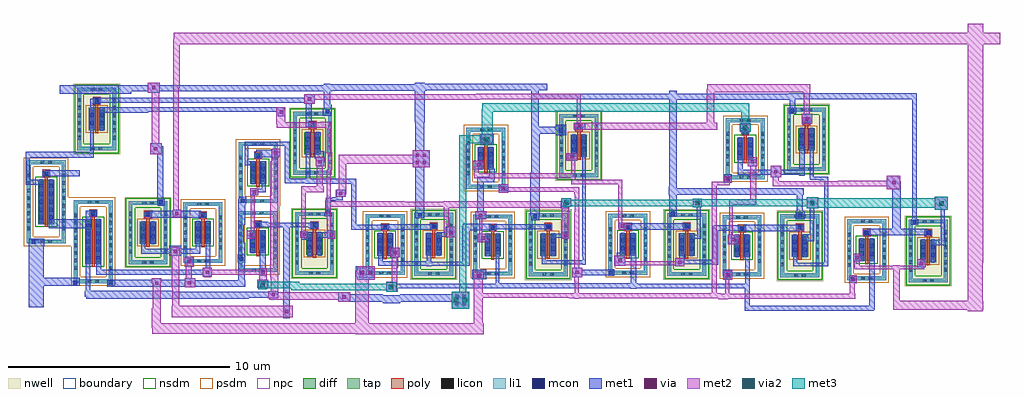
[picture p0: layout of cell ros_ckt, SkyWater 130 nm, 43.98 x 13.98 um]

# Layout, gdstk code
import gdstk
lib = gdstk.Library(unit=1e-6, precision=1e-09)
def R(c, l, rs):  # rectangles x0, y0, x1, y1
    for r in rs: c.add(gdstk.rectangle(r[:2], r[2:], *l))
def A(c, l, x, y, w, h, nx, ny, dx, dy):  # array of equal rectangles
    R(c, l, [(x+i*dx, y+j*dy, x+i*dx+w, y+j*dy+h) for i in range(nx) for j in range(ny)])
nwell = (64, 20)
diff = (65, 20)
tap = (65, 44)
poly = (66, 20)
licon = (66, 44)
li1 = (67, 20)
mcon = (67, 44)
met1 = (68, 20)
via = (68, 44)
met2 = (69, 20)
via2 = (69, 44)
met3 = (70, 20)
nsdm = (93, 44)
psdm = (94, 20)
npc = (95, 20)
boundary = (235, 4)

sky130_fd_pr__nfet_01v8_ = lib.new_cell('sky130_fd_pr__nfet_01v8_KW5RPL')
R(sky130_fd_pr__nfet_01v8_, diff, [(-0.365,-1,0.365,1)])
R(sky130_fd_pr__nfet_01v8_, tap, [(-0.875,-1.87,0.875,-1.7), (-0.875,-1.7,-0.705,1.7), (0.705,-1.7,0.875,1.7), (-0.875,1.7,0.875,1.87)])
R(sky130_fd_pr__nfet_01v8_, poly, [(-0.075,-1.13,0.075,1.11), (-0.165,1.11,0.165,1.44)])
A(sky130_fd_pr__nfet_01v8_, licon, -0.875, -1.275, 0.17, 0.17, 1, 8, 0, 0.34)
A(sky130_fd_pr__nfet_01v8_, licon, 0.705, -1.275, 0.17, 0.17, 1, 8, 0, 0.34)
A(sky130_fd_pr__nfet_01v8_, licon, -0.305, -0.935, 0.17, 0.17, 1, 6, 0, 0.34)
A(sky130_fd_pr__nfet_01v8_, licon, 0.135, -0.935, 0.17, 0.17, 1, 6, 0, 0.34)
R(sky130_fd_pr__nfet_01v8_, licon, [(-0.255,-1.87,-0.085,-1.7), (0.085,-1.87,0.255,-1.7), (-0.085,1.19,0.085,1.36), (-0.255,1.7,-0.085,1.87), (0.085,1.7,0.255,1.87)])
R(sky130_fd_pr__nfet_01v8_, li1, [(-0.875,-1.87,0.875,-1.7), (-0.875,-1.7,-0.705,1.7), (0.705,-1.7,0.875,1.7), (-0.305,-1.02,-0.135,1.02), (0.135,-1.02,0.305,1.02), (-0.165,1.19,0.165,1.36), (-0.875,1.7,0.875,1.87)])
A(sky130_fd_pr__nfet_01v8_, mcon, -0.305, -0.805, 0.17, 0.17, 1, 5, 0, 0.36)
A(sky130_fd_pr__nfet_01v8_, mcon, 0.135, -0.805, 0.17, 0.17, 1, 5, 0, 0.36)
R(sky130_fd_pr__nfet_01v8_, mcon, [(-0.085,1.19,0.085,1.36)])
R(sky130_fd_pr__nfet_01v8_, met1, [(-0.335,-1,-0.105,1), (0.105,-1,0.335,1), (-0.145,1.16,0.145,1.39)])
R(sky130_fd_pr__nfet_01v8_, nsdm, [(-0.49,-1.125,0.49,1.125)])
R(sky130_fd_pr__nfet_01v8_, psdm, [(-1,-1.995,1,-1.575), (-1,-1.575,-0.58,1.575), (0.58,-1.575,1,1.575), (-1,1.575,1,1.995)])
R(sky130_fd_pr__nfet_01v8_, npc, [(-0.185,1.09,0.185,1.46)])
R(sky130_fd_pr__nfet_01v8_, boundary, [(-0.79,-1.785,0.79,1.785)])
sky130_fd_pr__nfet_01v8_.add(gdstk.Label('B', (0,-1.785), layer=67, texttype=5))
sky130_fd_pr__nfet_01v8_.add(gdstk.Label('D', (-0.22,0), layer=67, texttype=5))
sky130_fd_pr__nfet_01v8_.add(gdstk.Label('S', (0.22,0), layer=67, texttype=5))
sky130_fd_pr__nfet_01v8_.add(gdstk.Label('G', (0,1.275), layer=67, texttype=5))

sky130_fd_pr__pfet_01v8_ = lib.new_cell('sky130_fd_pr__pfet_01v8_KBS6X7')
R(sky130_fd_pr__pfet_01v8_, nwell, [(-1.055,-1.595,1.055,1.595)])
R(sky130_fd_pr__pfet_01v8_, diff, [(-0.365,-0.5,0.365,0.5)])
R(sky130_fd_pr__pfet_01v8_, tap, [(-0.875,-1.415,0.875,-1.245), (-0.875,-1.245,-0.705,1.245), (0.705,-1.245,0.875,1.245), (-0.875,1.245,0.875,1.415)])
R(sky130_fd_pr__pfet_01v8_, poly, [(-0.075,-0.635,0.075,0.655), (-0.165,0.655,0.165,0.985)])
A(sky130_fd_pr__pfet_01v8_, licon, -0.875, -0.935, 0.17, 0.17, 1, 6, 0, 0.34)
A(sky130_fd_pr__pfet_01v8_, licon, 0.705, -0.935, 0.17, 0.17, 1, 6, 0, 0.34)
A(sky130_fd_pr__pfet_01v8_, licon, -0.305, -0.425, 0.17, 0.17, 1, 3, 0, 0.34)
A(sky130_fd_pr__pfet_01v8_, licon, 0.135, -0.425, 0.17, 0.17, 1, 3, 0, 0.34)
R(sky130_fd_pr__pfet_01v8_, licon, [(-0.255,-1.415,-0.085,-1.245), (0.085,-1.415,0.255,-1.245), (-0.085,0.735,0.085,0.905), (-0.255,1.245,-0.085,1.415), (0.085,1.245,0.255,1.415)])
R(sky130_fd_pr__pfet_01v8_, li1, [(-0.875,-1.415,0.875,-1.245), (-0.875,-1.245,-0.705,1.245), (0.705,-1.245,0.875,1.245), (-0.305,-0.52,-0.135,0.52), (0.135,-0.52,0.305,0.52), (-0.165,0.735,0.165,0.905), (-0.875,1.245,0.875,1.415)])
R(sky130_fd_pr__pfet_01v8_, mcon, [(-0.305,-0.265,-0.135,-0.095), (0.135,-0.265,0.305,-0.095), (-0.305,0.095,-0.135,0.265), (0.135,0.095,0.305,0.265), (-0.085,0.735,0.085,0.905)])
R(sky130_fd_pr__pfet_01v8_, met1, [(-0.335,-0.5,-0.105,0.5), (0.105,-0.5,0.335,0.5), (-0.145,0.705,0.145,0.935)])
R(sky130_fd_pr__pfet_01v8_, nsdm, [(-1,-1.54,1,-1.12), (-1,-1.12,-0.58,1.12), (0.58,-1.12,1,1.12), (-1,1.12,1,1.54)])
R(sky130_fd_pr__pfet_01v8_, psdm, [(-0.49,-0.625,0.49,0.625)])
R(sky130_fd_pr__pfet_01v8_, npc, [(-0.185,0.635,0.185,1.005)])
R(sky130_fd_pr__pfet_01v8_, boundary, [(-0.79,-1.33,0.79,1.33)])
sky130_fd_pr__pfet_01v8_.add(gdstk.Label('B', (0,-1.33), layer=67, texttype=5))
sky130_fd_pr__pfet_01v8_.add(gdstk.Label('D', (-0.22,0), layer=67, texttype=5))
sky130_fd_pr__pfet_01v8_.add(gdstk.Label('S', (0.22,0), layer=67, texttype=5))
sky130_fd_pr__pfet_01v8_.add(gdstk.Label('G', (0,0.82), layer=67, texttype=5))

c_sky130_fd_pr__nfet_01v8_ = lib.new_cell('sky130_fd_pr__nfet_01v8_SFU2NW')
R(c_sky130_fd_pr__nfet_01v8_, diff, [(-0.365,-0.5,0.365,0.5)])
R(c_sky130_fd_pr__nfet_01v8_, tap, [(-0.875,-1.37,0.875,-1.2), (-0.875,-1.2,-0.705,1.2), (0.705,-1.2,0.875,1.2), (-0.875,1.2,0.875,1.37)])
R(c_sky130_fd_pr__nfet_01v8_, poly, [(-0.075,-0.66,0.075,0.61), (-0.165,0.61,0.165,0.94)])
A(c_sky130_fd_pr__nfet_01v8_, licon, -0.875, -0.765, 0.17, 0.17, 1, 5, 0, 0.34)
A(c_sky130_fd_pr__nfet_01v8_, licon, 0.705, -0.765, 0.17, 0.17, 1, 5, 0, 0.34)
A(c_sky130_fd_pr__nfet_01v8_, licon, -0.305, -0.425, 0.17, 0.17, 1, 3, 0, 0.34)
A(c_sky130_fd_pr__nfet_01v8_, licon, 0.135, -0.425, 0.17, 0.17, 1, 3, 0, 0.34)
R(c_sky130_fd_pr__nfet_01v8_, licon, [(-0.255,-1.37,-0.085,-1.2), (0.085,-1.37,0.255,-1.2), (-0.085,0.69,0.085,0.86), (-0.255,1.2,-0.085,1.37), (0.085,1.2,0.255,1.37)])
R(c_sky130_fd_pr__nfet_01v8_, li1, [(-0.875,-1.37,0.875,-1.2), (-0.875,-1.2,-0.705,1.2), (0.705,-1.2,0.875,1.2), (-0.305,-0.52,-0.135,0.52), (0.135,-0.52,0.305,0.52), (-0.165,0.69,0.165,0.86), (-0.875,1.2,0.875,1.37)])
R(c_sky130_fd_pr__nfet_01v8_, mcon, [(-0.305,-0.265,-0.135,-0.095), (0.135,-0.265,0.305,-0.095), (-0.305,0.095,-0.135,0.265), (0.135,0.095,0.305,0.265), (-0.085,0.69,0.085,0.86)])
R(c_sky130_fd_pr__nfet_01v8_, met1, [(-0.335,-0.5,-0.105,0.5), (0.105,-0.5,0.335,0.5), (-0.145,0.66,0.145,0.89)])
R(c_sky130_fd_pr__nfet_01v8_, nsdm, [(-0.49,-0.625,0.49,0.625)])
R(c_sky130_fd_pr__nfet_01v8_, psdm, [(-1,-1.495,1,-1.075), (-1,-1.075,-0.58,1.075), (0.58,-1.075,1,1.075), (-1,1.075,1,1.495)])
R(c_sky130_fd_pr__nfet_01v8_, npc, [(-0.185,0.59,0.185,0.96)])
R(c_sky130_fd_pr__nfet_01v8_, boundary, [(-0.79,-1.285,0.79,1.285)])
c_sky130_fd_pr__nfet_01v8_.add(gdstk.Label('B', (0,-1.285), layer=67, texttype=5))
c_sky130_fd_pr__nfet_01v8_.add(gdstk.Label('D', (-0.22,0), layer=67, texttype=5))
c_sky130_fd_pr__nfet_01v8_.add(gdstk.Label('S', (0.22,0), layer=67, texttype=5))
c_sky130_fd_pr__nfet_01v8_.add(gdstk.Label('G', (0,0.775), layer=67, texttype=5))

ros_ckt = lib.new_cell('ros_ckt')
R(ros_ckt, li1, [(0.79,-5.34,1.09,-5.1), (-0.79,-5.33,-0.6,-5.14), (34.23,-5.17,34.43,-4.97), (17.24,-5.08,17.74,-4.71), (28.56,-5.04,28.84,-4.75), (12.09,-5.02,12.73,-4.56), (23.34,-4.86,23.54,-4.68), (4.21,-4.34,4.58,-4.06), (6.62,-4.34,6.96,-3.96), (-2.71,-3.48,-2.45,-3.3), (37.02,-2.58,37.21,-2.41), (19.9,-2.36,20.13,-2.12), (31.82,-2.33,32.09,-2.07), (14.71,-2.27,14.97,-2.1), (26.13,-2.23,26.32,-2.02), (10.6,-2.18,10.77,-1.95), (3.06,-1.68,3.26,-1.67), (3.05,-1.67,3.28,-1.5), (6.73,-1.63,6.97,-1.45), (18.44,-1.11,18.74,-0.87), (28.59,-0.61,28.81,-0.41), (21.06,1.47,21.35,1.81), (10.58,2.39,10.76,2.58), (31.53,2.43,31.7,2.6), (-0.03,2.62,0.14,2.68)])
R(ros_ckt, mcon, [(-0.78,-5.32,-0.61,-5.15), (0.83,-5.31,1,-5.14), (34.245,-5.155,34.415,-4.985), (17.42,-5.01,17.59,-4.84), (28.615,-4.98,28.785,-4.81), (12.145,-4.875,12.315,-4.705), (12.505,-4.875,12.675,-4.705), (23.355,-4.855,23.525,-4.685), (4.34,-4.29,4.51,-4.12), (6.7,-4.245,6.87,-4.075), (-2.665,-3.475,-2.495,-3.305), (37.03,-2.58,37.2,-2.41), (19.93,-2.325,20.1,-2.155), (31.87,-2.285,32.04,-2.115), (14.755,-2.27,14.925,-2.1), (26.14,-2.21,26.31,-2.04), (10.6,-2.15,10.77,-1.98), (3.075,-1.675,3.245,-1.505), (6.765,-1.625,6.935,-1.455), (18.505,-1.075,18.675,-0.905), (28.615,-0.595,28.785,-0.425), (21.12,1.555,21.29,1.725), (10.585,2.4,10.755,2.57), (31.53,2.43,31.7,2.6)])
R(ros_ckt, met1, [(8.67,-6.83,8.97,-2.73), (29.48,-6.5,29.7,-6.49), (29.48,-6.49,35.29,-6.46), (29.48,-6.46,35.32,-6.28), (16.26,-6.41,17.06,-6.1), (-2.79,-6.33,-2.11,-5.38), (29.48,-6.28,29.7,-6.18), (35.09,-6.28,35.32,-4.2), (29.47,-6.18,29.7,-5.49), (13.16,-6.15,13.94,-6.1), (11.42,-6.1,17.06,-6.09), (11.16,-6.09,17.06,-5.79), (-0.21,-5.95,7.12,-5.92), (8.01,-5.94,8.46,-5.92), (-0.21,-5.92,8.46,-5.87), (-0.27,-5.87,8.46,-5.63), (11.16,-5.79,13.16,-5.76), (13.94,-5.79,17.06,-5.76), (11.16,-5.76,11.69,-5.66), (16.26,-5.76,17.06,-5.63), (13.31,-5.64,13.79,-5.63), (-0.27,-5.63,3.72,-5.59), (8.01,-5.63,8.46,-5.62), (13.31,-5.63,13.83,-5.48), (-0.22,-5.59,-0.01,-4.21), (24.34,-5.5,24.57,-5.49), (18.23,-5.49,29.7,-5.48), (13.31,-5.48,29.7,-5.28), (7.51,-5.45,7.99,-5.11), (4.24,-5.43,4.7,-5.41), (0.75,-5.41,6.96,-5.12), (-2.79,-5.38,-0.5,-5.02), (13.31,-5.28,13.79,-5.21), (18.23,-5.28,29.7,-5.27), (18.23,-5.27,24.65,-5.26), (29.49,-5.27,29.7,-4.12), (18.25,-5.26,18.41,-3.89), (24.34,-5.26,24.57,-3.95), (34.17,-5.24,34.51,-4.9), (13.47,-5.21,13.65,-5.19), (0.75,-5.12,4.7,-5.11), (6.64,-5.12,6.94,-4.36), (0.79,-5.11,1.09,-5.1), (2.75,-5.11,3.18,-5.04), (4.24,-5.11,4.7,-5.03), (28.49,-5.1,28.91,-4.66), (12.02,-5.09,12.8,-4.97), (17.19,-5.07,17.82,-4.64), (-2.79,-5.02,-2.11,-3.59), (21.69,-4.98,22.14,-4.89), (11.95,-4.97,12.8,-4.5), (5.05,-4.96,5.45,-4.88), (23.32,-4.93,23.6,-4.89), (7.59,-4.91,7.93,-4.58), (21.69,-4.89,23.6,-4.64), (2.89,-4.88,5.45,-4.87), (0.24,-4.87,5.45,-4.66), (0.24,-4.66,0.48,-4.37), (2.89,-4.66,5.45,-4.65), (5.05,-4.65,5.45,-4.57), (21.69,-4.64,22.14,-4.56), (23.32,-4.64,23.6,-4.62), (7.62,-4.58,7.89,-3.78), (5.18,-4.57,5.39,-3.43), (37.24,-4.54,37.62,-4.17), (4.23,-4.51,4.64,-4.07), (31.65,-4.5,33.24,-4.33), (15.14,-4.48,15.34,-4.46), (26.34,-4.48,26.75,-4.41), (23.6,-4.47,24.09,-4.02), (12.95,-4.46,17.08,-4.28), (22.16,-4.42,22.3,-4.4), (28.02,-4.42,28.28,-4.41), (26.34,-4.41,28.28,-4.19), (20.33,-4.4,22.3,-4.36), (6.64,-4.36,6.96,-4.34), (20.32,-4.36,22.3,-4.23), (6.62,-4.34,6.96,-3.96), (31.65,-4.33,31.83,-3.97), (33.06,-4.33,33.23,-0.62), (12.95,-4.28,15.34,-4.27), (16.74,-4.28,17.08,-2.86), (12.95,-4.27,13.15,-3.98), (15.14,-4.27,15.34,-3.92), (34.36,-4.26,34.73,-3.93), (20.32,-4.23,20.5,-3.92), (22.16,-4.23,22.3,-4.04), (26.34,-4.19,26.76,-4.14), (28.02,-4.19,28.28,-2.9), (26.52,-4.14,26.76,-3.97), (29.46,-4.12,29.7,-3.91), (13.5,-4.09,13.93,-3.66), (22.15,-4.04,22.3,-2.19), (9.76,-4.03,9.99,-3.82), (10.23,-4.02,10.41,-3.93), (23.7,-4.02,24.09,-3.89), (3.55,-4.01,4.07,-3.92), (26.52,-3.97,26.61,-3.95), (26.68,-3.97,26.76,-3.92), (6.65,-3.96,6.96,-3.43), (2.28,-3.92,4.93,-3.71), (23.88,-3.89,24.09,-3.87), (2.28,-3.71,2.45,-3.46), (3.55,-3.71,4.07,-3.57), (4.73,-3.71,4.93,-3.38), (-2.8,-3.59,-2.1,-3.26), (37.91,-3.55,38.52,-3.3), (28.7,-3.5,29.22,-3.07), (6.65,-3.43,6.9,-2.63), (17.43,-3.41,17.92,-3.03), (32.15,-3.37,32.57,-3.36), (32.15,-3.36,32.59,-3.04), (13.48,-3.31,13.61,-3.1), (9.48,-3.3,9.98,-3.21), (38.29,-3.3,38.48,-1.95), (7.04,-3.26,7.44,-2.89), (21.22,-3.26,21.55,-3.2), (27.03,-3.26,27.5,-3.2), (10.66,-3.25,11.03,-3.2), (9.45,-3.21,9.98,-2.95), (10.22,-3.2,11.03,-2.95), (20.79,-3.2,21.55,-3.02), (27.03,-3.2,27.51,-3.08), (15.99,-3.18,16.44,-3.17), (15.59,-3.17,16.44,-2.95), (34.99,-3.1,37.72,-2.81), (27.34,-3.08,27.51,-2.87), (32.4,-3.04,32.59,-1.88), (21.22,-3.02,21.55,-2.95), (9.45,-2.95,9.79,-2.92), (10.64,-2.95,11.03,-2.89), (15.99,-2.95,16.44,-2.71), (29.38,-2.92,31.92,-2.68), (28.02,-2.9,29.29,-2.69), (10.64,-2.89,10.88,-2.88), (27.3,-2.87,27.51,-2.76), (16.74,-2.86,18.02,-2.69), (23.81,-2.85,24.12,-2.84), (11.75,-2.84,13.18,-2.62), (13.35,-2.84,15.36,-2.59), (23.79,-2.84,24.12,-2.69), (24.22,-2.84,26.89,-2.69), (18.2,-2.82,20.5,-2.61), (36.11,-2.81,36.5,-1.02), (9.92,-2.8,10.07,-2.78), (9.83,-2.78,10.23,-2.75), (-1.9,-2.77,0.02,-2.37), (27.3,-2.76,27.48,-1.83), (9.83,-2.75,9.99,-2.73), (7.38,-2.74,7.69,-2.73), (7.38,-2.73,9.99,-2.71), (7.64,-2.71,9.99,-2.53), (16.76,-2.69,18.02,-2.58), (23.79,-2.69,26.89,-2.55), (28.07,-2.69,29.29,-2.68), (28.07,-2.68,29.24,-2.65), (29.43,-2.68,31.92,-2.63), (6.65,-2.63,6.96,-1.7), (36.95,-2.63,37.28,-2.55), (11.75,-2.62,11.96,-0.77), (23.81,-2.55,24.25,-2.54), (36.95,-2.55,37.29,-2.42), (23.81,-2.54,24.12,-2.52), (7.64,-2.53,10.22,-2.52), (7.64,-2.52,7.99,-2.5), (9.92,-2.52,10.22,-2.5), (7.38,-2.5,7.99,-2.49), (7.38,-2.49,7.69,-2.46), (36.97,-2.42,37.29,-2.37), (19.86,-2.41,20.22,-2.38), (17.33,-2.38,17.83,-2.01), (19.84,-2.38,20.22,-2.22), (-0.23,-2.37,0.01,-2.23), (31.76,-2.37,32.18,-2.02), (37.02,-2.37,37.23,3.04), (14.65,-2.33,15.03,-2.31), (2.69,-2.31,4.95,-1.98), (14.63,-2.31,15.03,-0.04), (26.07,-2.26,26.41,-1.94), (10.53,-2.24,10.85,-2.1), (-0.23,-2.23,0.27,-2.21), (19.8,-2.22,20.24,-0.27), (-0.23,-2.21,0.01,-2.01), (0.25,-2.21,0.27,-2.01), (22.14,-2.19,22.31,0.59), (10.56,-2.1,10.81,-1.54), (31.82,-2.02,32.09,-1.28), (-0.23,-2.01,0.27,-2), (17.42,-2.01,17.71,-0.7), (-0.04,-2,0.27,-1.96), (3.69,-1.98,4.07,-1.95), (38.03,-1.95,38.62,-1.36), (26.07,-1.94,26.4,-1.28), (21.18,-1.88,21.56,-1.81), (32.27,-1.88,32.79,-1.38), (27.13,-1.83,27.54,-1.44), (21.18,-1.81,21.65,-1.54), (3.02,-1.76,3.33,-1.72), (3.01,-1.72,3.33,-1.47), (6.65,-1.7,7.02,-1.47), (10.58,-1.54,11.03,-1.52), (21.21,-1.54,21.65,-1.42), (10.58,-1.52,11.36,-1.4), (3.01,-1.47,3.28,-1.3), (6.66,-1.47,7.02,-1.37), (10.88,-1.4,11.36,-1.38), (11.04,-1.38,11.36,-1.37), (11.04,-1.37,11.48,-1.05), (2.99,-1.3,3.28,-1.14), (7.2,-1.3,7.55,-1.15), (26.05,-1.28,32.12,-0.98), (18.39,-1.18,18.82,-0.79), (7.2,-1.15,7.89,-1.01), (2.99,-1.14,3.27,0.56), (11.04,-1.05,11.36,-1.04), (35.87,-1.02,36.5,-0.66), (7.2,-1.01,7.55,-0.98), (7.7,-1.01,7.89,-0.79), (26.05,-0.98,26.4,-0.9), (26.07,-0.9,26.4,3.02), (-2.92,-0.81,-2.12,-0.59), (7.67,-0.79,7.89,-0.78), (7.21,-0.78,7.44,-0.66), (7.67,-0.78,7.88,-0.7), (9.67,-0.77,11.96,-0.76), (8.75,-0.76,11.96,-0.55), (28.55,-0.72,28.89,-0.34), (17.42,-0.7,18.18,-0.58), (35.87,-0.66,36.48,-0.42), (32.84,-0.62,33.23,-0.6), (32.41,-0.6,33.23,-0.57), (-2.92,-0.59,-2.75,0.39), (17.42,-0.58,18.2,-0.47), (32.4,-0.57,33.23,-0.46), (8.75,-0.55,8.97,0.94), (9.67,-0.55,11.96,-0.54), (9.68,-0.54,9.9,-0.08), (30.65,-0.49,31.11,-0.37), (17.44,-0.47,18.2,-0.45), (32.4,-0.46,32.57,0.87), (17.95,-0.45,18.2,-0.1), (-1.73,-0.44,-0.49,-0.43), (-1.89,-0.43,-0.49,-0.23), (31.93,-0.41,32.18,-0.37), (29.16,-0.37,32.18,-0.24), (19.86,-0.27,20.24,1.47), (29.15,-0.24,32.18,-0.14), (-2.02,-0.23,-0.49,-0.17), (-1.73,-0.17,-0.49,-0.16), (29.15,-0.14,29.37,0.74), (30.65,-0.14,31.11,0.03), (31.93,-0.14,32.18,0.91), (17.22,-0.13,17.72,0.26), (7.2,-0.08,7.43,0.07), (9.68,-0.08,9.89,0.67), (14.5,-0.04,15.27,0.74), (10.13,0.01,10.52,0.19), (29.6,0.02,30.04,0.43), (6.93,0.07,7.43,0.11), (6.93,0.11,7.4,0.24), (10.13,0.19,10.54,0.36), (6.93,0.24,7.1,0.93), (21.43,0.26,21.93,0.61), (10.1,0.36,10.54,0.41), (7.4,0.38,7.69,0.41), (-2.93,0.39,0.14,0.66), (8.17,0.4,8.42,0.41), (7.47,0.41,8.42,0.46), (10.1,0.41,10.52,0.69), (7.47,0.46,8.55,0.6), (2.69,0.56,3.27,0.91), (7.4,0.6,8.55,0.66), (-0.03,0.66,0.14,1.89), (7.47,0.66,8.55,0.75), (10.13,0.69,10.35,0.73), (14.63,0.74,15.03,2), (8.16,0.75,8.55,0.8), (2.69,0.91,3.21,1.04), (6.93,0.93,7.25,0.94), (6.93,0.94,8.97,1.11), (17.57,1.02,18.11,1.44), (10.13,1.38,10.37,1.54), (20.97,1.42,21.42,1.47), (19.86,1.47,21.42,1.79), (29.26,1.57,29.73,1.94), (21.77,1.65,22.28,1.98), (9.85,1.74,10.15,1.77), (10.1,1.77,10.15,1.97), (19.86,1.79,20.19,3.03), (20.97,1.79,21.42,1.88), (9.68,1.8,9.97,1.97), (32.04,1.94,32.51,2.37), (9.68,1.97,10.15,2.02), (14.6,2,15.06,3.41), (9.68,2.02,9.97,2.83), (8.43,2.27,8.76,2.46), (10.45,2.3,10.84,2.5), (31.46,2.38,31.78,2.64), (0.41,2.43,2.59,2.46), (0.41,2.46,8.76,2.63), (10.45,2.5,10.86,2.61), (10.5,2.61,10.86,2.78), (-0.03,2.62,0.15,2.83), (0.41,2.63,8.66,2.67), (31.49,2.64,31.74,3.02), (0.41,2.67,2.59,2.68), (10.5,2.78,10.8,3.39), (-0.03,2.83,0.43,2.87), (9.63,2.83,10.1,2.87), (-0.03,2.87,0.15,3.06), (0.39,2.87,10.1,3.07), (26.04,3.02,31.74,3.04), (19.86,3.03,24.96,3.04), (19.86,3.04,37.23,3.27), (0.13,3.07,10.1,3.11), (9.63,3.11,10.1,3.25), (19.86,3.27,20.19,3.45), (26.04,3.27,37.23,3.29), (-1.39,3.29,1.83,3.39), (26.07,3.29,26.4,3.41), (31.47,3.29,37.23,3.3), (2.57,3.33,3.11,3.39), (-1.39,3.39,10.88,3.41), (-1.39,3.41,15.14,3.45), (-1.39,3.45,20.56,3.66), (-1.39,3.66,1.83,3.67), (2.57,3.66,3.11,3.77), (10.5,3.66,20.56,3.7), (10.5,3.7,10.8,3.74), (14.6,3.7,20.56,3.74), (14.6,3.74,15.06,3.78)])
R(ros_ckt, via, [(8.745,-6.6,8.895,-6.45), (16.425,-6.245,16.575,-6.095), (16.745,-6.245,16.895,-6.095), (11.345,-5.945,11.495,-5.795), (16.425,-5.925,16.575,-5.775), (16.745,-5.925,16.895,-5.775), (8.15,-5.845,8.3,-5.695), (13.46,-5.505,13.61,-5.355), (7.675,-5.355,7.825,-5.205), (2.9,-5.335,3.05,-5.185), (4.38,-5.31,4.53,-5.16), (34.26,-5.14,34.41,-4.99), (17.4,-4.98,17.55,-4.83), (28.63,-4.97,28.78,-4.82), (12.175,-4.865,12.325,-4.715), (12.495,-4.865,12.645,-4.715), (5.185,-4.84,5.335,-4.69), (21.83,-4.84,21.98,-4.69), (7.685,-4.82,7.835,-4.67), (37.35,-4.435,37.5,-4.285), (26.48,-4.385,26.63,-4.235), (4.355,-4.365,4.505,-4.215), (23.775,-4.31,23.925,-4.16), (34.445,-4.175,34.595,-4.025), (13.645,-3.945,13.795,-3.795), (3.74,-3.895,3.89,-3.745), (28.885,-3.355,29.035,-3.205), (17.595,-3.295,17.745,-3.145), (21.315,-3.185,21.465,-3.035), (10.78,-3.16,10.93,-3.01), (7.17,-3.15,7.32,-3), (9.545,-3.125,9.695,-2.975), (16.16,-3.065,16.31,-2.915), (23.88,-2.76,24.03,-2.61), (17.495,-2.275,17.645,-2.125), (3.8,-2.195,3.95,-2.045), (21.29,-1.785,21.44,-1.635), (38.25,-1.735,38.4,-1.585), (32.44,-1.73,32.59,-1.58), (27.26,-1.715,27.41,-1.565), (11.195,-1.275,11.345,-1.125), (7.3,-1.215,7.45,-1.065), (18.525,-1.065,18.675,-0.915), (36.12,-0.795,36.27,-0.645), (28.64,-0.655,28.79,-0.505), (30.79,-0.31,30.94,-0.16), (17.395,-0.01,17.545,0.14), (14.635,0.115,14.785,0.265), (14.955,0.115,15.105,0.265), (10.25,0.14,10.4,0.29), (29.73,0.14,29.88,0.29), (21.61,0.365,21.76,0.515), (14.635,0.435,14.785,0.585), (14.955,0.435,15.105,0.585), (8.265,0.535,8.415,0.685), (2.845,0.73,2.995,0.88), (17.755,1.16,17.905,1.31), (29.415,1.685,29.565,1.835), (21.955,1.74,22.105,1.89), (32.195,2.08,32.345,2.23), (8.515,2.38,8.665,2.53), (9.78,2.965,9.93,3.115), (2.765,3.49,2.915,3.64)])
R(ros_ckt, met2, [(11.95,-7.55,17.72,-7.54), (2.77,-7.54,17.72,-7.26), (2.75,-7.26,17.72,-7.07), (2.75,-7.07,3.16,-6.38), (11.93,-7.07,17.72,-7.05), (11.93,-7.05,12.52,-5.09), (17.26,-7.05,17.66,-5.91), (3.65,-6.8,9.11,-6.27), (39.51,-6.52,40.2,-6.45), (36.17,-6.45,40.21,-6.05), (16.26,-6.41,17.06,-5.63), (2.79,-6.38,3.15,-5.21), (3.67,-6.27,4,-5.47), (11.16,-6.09,11.69,-5.99), (36.17,-6.05,36.45,-4.62), (39.51,-6.05,40.2,-4.33), (8.05,-5.99,11.69,-5.94), (28.28,-5.97,28.71,-5.96), (28.28,-5.96,34.45,-5.94), (21.8,-5.95,21.98,-5.94), (8.01,-5.94,11.69,-5.67), (21.53,-5.94,34.45,-5.91), (17.26,-5.91,34.45,-5.73), (17.26,-5.73,28.78,-5.72), (34.2,-5.73,34.43,-5.25), (17.26,-5.72,28.38,-5.71), (28.59,-5.72,28.78,-5.09), (17.26,-5.71,21.98,-5.7), (27.99,-5.71,28.21,-0.85), (17.26,-5.7,17.66,-5.07), (21.8,-5.7,21.98,-5.16), (8.01,-5.67,8.46,-5.62), (11.16,-5.67,11.69,-5.66), (13.31,-5.64,13.79,-5.62), (8.09,-5.62,8.44,-5.61), (13.31,-5.62,13.82,-5.18), (8.11,-5.61,8.44,-4.99), (7.54,-5.53,7.87,-5.49), (7.54,-5.49,7.95,-5.45), (3.65,-5.47,4,-4.93), (7.51,-5.45,7.97,-5.11), (4.28,-5.44,4.57,-5.43), (4.24,-5.43,4.7,-5.03), (34.17,-5.25,34.51,-4.9), (2.75,-5.21,3.18,-5.04), (13.57,-5.18,13.81,-4.09), (21.78,-5.16,21.98,-4.98), (7.59,-5.11,7.93,-4.88), (11.93,-5.09,12.8,-4.7), (28.51,-5.09,28.9,-4.7), (17.23,-5.07,17.72,-4.74), (4.28,-5.03,4.56,-4.51), (8.09,-4.99,8.44,-0.92), (5.11,-4.98,5.42,-4.96), (21.69,-4.98,22.14,-4.56), (5.05,-4.96,5.45,-4.88), (3.65,-4.93,3.98,-4.01), (5.05,-4.88,7.93,-4.66), (12.02,-4.7,12.8,-4.5), (5.05,-4.66,5.45,-4.57), (7.59,-4.66,7.93,-4.58), (34.43,-4.62,37.55,-4.59), (34.4,-4.59,37.55,-4.54), (21.78,-4.56,22.02,-2.05), (34.4,-4.54,37.62,-4.46), (4.23,-4.51,4.64,-4.07), (26.34,-4.48,26.75,-4.44), (23.6,-4.47,24.09,-4.44), (34.4,-4.46,34.64,-4.26), (36.17,-4.46,36.45,-4.44), (37.24,-4.46,37.62,-4.17), (23.6,-4.44,26.75,-4.27), (39.51,-4.33,40.21,5.52), (23.6,-4.27,24.09,-4.02), (26.34,-4.27,26.75,-4.14), (34.36,-4.26,34.73,-3.93), (13.5,-4.09,13.93,-3.66), (3.61,-4.01,4.01,-3.63), (28.7,-3.5,29.22,-3.07), (17.43,-3.41,17.92,-3.03), (7.04,-3.26,7.44,-2.89), (21.22,-3.26,21.55,-2.75), (10.66,-3.25,11.03,-3.05), (9.45,-3.21,9.79,-2.92), (15.99,-3.18,16.44,-2.96), (28.76,-3.07,28.93,-1.73), (10.63,-3.05,11.03,-2.89), (17.5,-3.03,17.65,-2.38), (15.91,-2.96,16.44,-2.71), (9.49,-2.92,9.7,-1.15), (7.22,-2.89,7.39,-1.3), (10.63,-2.89,10.82,-1.81), (23.81,-2.85,24.12,-2.84), (23.79,-2.84,24.12,-2.79), (23.76,-2.79,24.12,-2.52), (21.23,-2.75,21.54,-1.88), (15.91,-2.71,16.13,-1.85), (23.76,-2.52,23.95,-0.79), (17.33,-2.38,17.83,-2.01), (3.69,-2.28,4.07,-1.95), (21.82,-2.05,22.02,-1.25), (3.73,-1.95,3.97,3.56), (38.03,-1.95,38.62,-1.36), (21.18,-1.88,21.56,-1.85), (32.27,-1.88,32.79,-1.38), (15.9,-1.85,21.56,-1.82), (27.13,-1.83,27.54,-1.44), (13.74,-1.82,21.56,-1.81), (10.63,-1.81,21.65,-1.58), (28.76,-1.73,29.99,-1.5), (10.63,-1.58,14.13,-1.56), (15.9,-1.58,21.65,-1.56), (10.63,-1.56,10.82,-0.15), (21.18,-1.56,21.65,-1.54), (21.21,-1.54,21.65,-1.42), (28.76,-1.5,29.11,-1.48), (29.71,-1.5,29.98,0.02), (11.06,-1.37,11.48,-1.33), (11.06,-1.33,11.5,-1.25), (7.2,-1.3,7.55,-0.98), (11.06,-1.25,11.52,-1.05), (21.78,-1.25,22.02,-1.14), (18.39,-1.18,18.82,-1.14), (9.49,-1.15,10.49,-0.89), (18.39,-1.14,22.02,-0.94), (11.13,-1.05,11.52,-1.02), (11.18,-1.02,11.52,0.13), (35.87,-1.02,36.48,-0.89), (18.39,-0.94,18.82,-0.79), (21.78,-0.94,22.02,-0.93), (8.08,-0.92,8.45,0.25), (9.53,-0.89,10.49,-0.88), (33.68,-0.89,36.48,-0.88), (10.19,-0.88,10.45,0.01), (30.73,-0.88,36.48,-0.67), (27.99,-0.85,28.8,-0.71), (21.65,-0.79,23.95,-0.61), (27.99,-0.71,28.89,-0.68), (28.55,-0.68,28.89,-0.44), (30.74,-0.67,31,-0.49), (33.68,-0.67,36.48,-0.63), (35.87,-0.63,36.48,-0.42), (21.65,-0.61,23.94,-0.59), (21.65,-0.59,21.85,-0.53), (17.28,-0.53,21.85,-0.38), (30.65,-0.49,31.11,0.03), (17.27,-0.38,21.85,-0.31), (17.27,-0.31,17.48,-0.13), (21.65,-0.31,21.85,-0.3), (21.65,-0.3,21.84,0.26), (10.68,-0.15,10.89,0.59), (17.22,-0.13,17.72,0.26), (14.5,-0.04,15.27,0.13), (10.13,0.01,10.52,0.42), (29.6,0.02,30.04,0.43), (11.18,0.13,15.27,0.53), (8.18,0.25,8.45,0.39), (21.43,0.26,21.93,0.61), (8.18,0.39,8.47,0.4), (8.17,0.4,8.47,0.46), (8.16,0.46,8.55,0.8), (14.5,0.53,15.27,0.74), (2.69,0.56,3.21,1.04), (10.63,0.59,10.89,0.62), (10.63,0.62,10.82,1.76), (17.52,0.97,18.16,1.48), (2.74,1.04,3.1,3.33), (29.24,1.56,29.75,1.96), (21.77,1.65,28.23,1.98), (8.39,1.76,10.83,1.92), (8.37,1.92,10.83,2), (32.04,1.94,32.51,2.37), (21.9,1.98,22.08,3.03), (27.75,1.98,28.09,3.35), (8.37,2,8.77,2.67), (10.36,2,10.83,2.01), (32.13,2.37,32.39,3.35), (9.63,2.83,10.1,3.01), (9.63,3.01,17.5,3.03), (9.63,3.03,22.08,3.25), (17.38,3.25,22.08,3.27), (21.9,3.27,22.08,3.28), (2.57,3.33,3.11,3.77), (27.75,3.35,32.42,3.48), (27.77,3.48,32.42,3.7), (3.72,3.56,4.01,5.52), (32.13,3.7,32.39,3.71), (3.72,5.52,40.97,5.74), (3.75,5.74,40.97,6.03), (39.51,6.03,40.21,6.43)])
R(ros_ckt, via2, [(16.36,-6.11,16.56,-5.91), (16.76,-6.11,16.96,-5.91), (13.44,-5.525,13.64,-5.325), (7.645,-5.45,7.845,-5.25), (38.23,-1.755,38.43,-1.555), (32.41,-1.75,32.61,-1.55), (27.235,-1.74,27.435,-1.54), (21.33,-1.715,21.53,-1.515), (17.74,1.13,17.94,1.33), (29.39,1.66,29.59,1.86)])
R(ros_ckt, met3, [(16.26,-6.41,17.06,-5.63), (13.31,-5.64,13.79,-5.58), (16.61,-5.63,16.93,1.06), (9.04,-5.58,13.79,-5.49), (7.54,-5.53,7.95,-5.49), (7.54,-5.49,13.79,-5.28), (7.54,-5.28,9.4,-5.21), (13.19,-5.28,13.79,-5.27), (13.31,-5.27,13.79,-5.21), (7.55,-5.21,9.4,-5.18), (7.55,-5.18,7.95,-5.17), (7.55,-5.17,7.93,-5.16), (38.03,-1.95,38.62,-1.86), (32.27,-1.88,32.79,-1.86), (32.27,-1.86,38.62,-1.79), (27.13,-1.83,27.54,-1.79), (21.21,-1.81,21.65,-1.79), (21.21,-1.79,38.62,-1.49), (21.21,-1.49,21.65,-1.42), (27.13,-1.49,38.62,-1.47), (27.13,-1.47,27.54,-1.44), (32.27,-1.47,38.62,-1.43), (32.27,-1.43,32.79,-1.38), (38.03,-1.43,38.62,-1.36), (17.52,0.97,18.16,1.06), (16.61,1.06,18.16,1.42), (17.52,1.42,18.16,1.48), (17.63,1.48,18.11,2.48), (29.31,1.5,29.68,1.56), (29.24,1.56,29.75,1.96), (29.31,1.96,29.68,2.48), (17.63,2.48,29.68,2.58), (17.65,2.58,29.68,2.85), (29.31,2.85,29.68,2.86)])
R(ros_ckt, psdm, [(-1.005,-3.585,-0.885,-1.385), (6.545,-1.885,8.525,-1.765)])
ros_ckt.add(gdstk.Reference(sky130_fd_pr__nfet_01v8_, (-2.005,-1.59)))
ros_ckt.add(gdstk.Reference(sky130_fd_pr__nfet_01v8_, (0.115,-3.38)))
ros_ckt.add(gdstk.Reference(sky130_fd_pr__pfet_01v8_, (2.585,-2.975)))
ros_ckt.add(gdstk.Reference(c_sky130_fd_pr__nfet_01v8_, (5.055,-2.97)))
ros_ckt.add(gdstk.Reference(c_sky130_fd_pr__nfet_01v8_, (7.525,-3.38)))
ros_ckt.add(gdstk.Reference(c_sky130_fd_pr__nfet_01v8_, (7.545,-0.27)))
ros_ckt.add(gdstk.Reference(sky130_fd_pr__pfet_01v8_, (10.085,-3.465)))
ros_ckt.add(gdstk.Reference(sky130_fd_pr__pfet_01v8_, (15.455,-3.505)))
ros_ckt.add(gdstk.Reference(c_sky130_fd_pr__nfet_01v8_, (13.265,-3.51)))
ros_ckt.add(gdstk.Reference(c_sky130_fd_pr__nfet_01v8_, (18.115,-3.53)))
ros_ckt.add(gdstk.Reference(sky130_fd_pr__pfet_01v8_, (20.615,-3.525)))
ros_ckt.add(gdstk.Reference(sky130_fd_pr__pfet_01v8_, (26.855,-3.515)))
ros_ckt.add(gdstk.Reference(c_sky130_fd_pr__nfet_01v8_, (24.205,-3.5)))
ros_ckt.add(gdstk.Reference(c_sky130_fd_pr__nfet_01v8_, (29.345,-3.57)))
ros_ckt.add(gdstk.Reference(sky130_fd_pr__pfet_01v8_, (31.955,-3.565)))
ros_ckt.add(gdstk.Reference(sky130_fd_pr__pfet_01v8_, (37.735,-3.805)))
ros_ckt.add(gdstk.Reference(c_sky130_fd_pr__nfet_01v8_, (34.965,-3.75)))
ros_ckt.add(gdstk.Reference(sky130_fd_pr__pfet_01v8_, (0.275,2.145)))
ros_ckt.add(gdstk.Reference(sky130_fd_pr__pfet_01v8_, (9.995,1.055)))
ros_ckt.add(gdstk.Reference(c_sky130_fd_pr__nfet_01v8_, (17.805,0.38)))
ros_ckt.add(gdstk.Reference(sky130_fd_pr__pfet_01v8_, (21.995,0.945)))
ros_ckt.add(gdstk.Reference(c_sky130_fd_pr__nfet_01v8_, (29.495,0.8)))
ros_ckt.add(gdstk.Reference(sky130_fd_pr__pfet_01v8_, (32.255,1.225)))

lib.write_gds('ros_ckt.gds')
